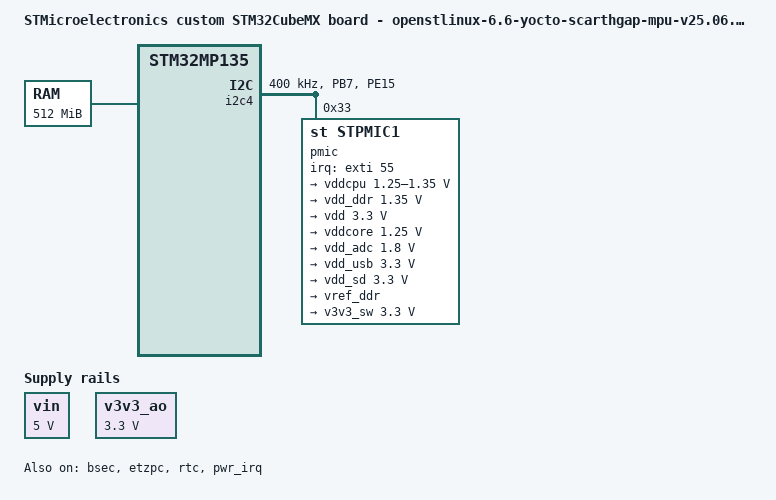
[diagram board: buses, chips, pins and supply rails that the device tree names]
// SPDX-License-Identifier: (GPL-2.0-or-later OR BSD-3-Clause)
/*
 * Copyright (C) 2026, STMicroelectronics - All Rights Reserved
 * Author: STM32CubeMX code generation for STMicroelectronics.
 */

/* For more information on Device Tree configuration, please refer to
 * https://wiki.st.com/stm32mpu/wiki/Category:Device_tree_configuration
 */

/dts-v1/;

#include <dt-bindings/pinctrl/stm32-pinfunc.h>
#include <dt-bindings/clock/stm32mp13-clksrc.h>
#include <dt-bindings/soc/stm32mp13-etzpc.h>
#include "stm32mp135.dtsi"
#include "stm32mp13xd.dtsi"

/* USER CODE BEGIN includes */
#include <dt-bindings/gpio/stm32mp_gpio.h>	/* TZPROT() used by &gpiob/&gpioe */
#include <dt-bindings/interrupt-controller/irq.h>
#include <dt-bindings/mfd/st,stpmic1.h>
#include <dt-bindings/regulator/st,stm32mp13-regulator.h>
/* USER CODE END includes */

/ {
	model = "STMicroelectronics custom STM32CubeMX board - openstlinux-6.6-yocto-scarthgap-mpu-v25.06.11";
	compatible = "st,stm32mp135d-oddesey-mx", "st,stm32mp135";

	memory@c0000000 {
		device_type = "memory";
		reg = <0xc0000000 0x20000000>;

		/* USER CODE BEGIN memory */
		/* USER CODE END memory */
	};

	reserved-memory {
		#address-cells = <1>;
		#size-cells = <1>;
		ranges;

		/* USER CODE BEGIN reserved-memory */
		/* USER CODE END reserved-memory */
	};

	/* USER CODE BEGIN root */
	aliases {
		serial0 = &uart4;
	};

	chosen {
		stdout-path = "serial0:115200n8";
	};

	/* 5V_IN from USB-C (input of all PMIC bucks/LDOs) */
	vin: regulator-vin {
		compatible = "regulator-fixed";
		regulator-name = "vin";
		regulator-min-microvolt = <5000000>;
		regulator-max-microvolt = <5000000>;
		regulator-always-on;
	};

	/* SYS_3V3 from the MP2161 DC/DC (always on; feeds PMIC SWIN) */
	v3v3_ao: regulator-v3v3-ao {
		compatible = "regulator-fixed";
		regulator-name = "v3v3_ao";
		regulator-min-microvolt = <3300000>;
		regulator-max-microvolt = <3300000>;
		regulator-always-on;
	};
	/* USER CODE END root */

	clocks {
		/* USER CODE BEGIN clocks */
		/* USER CODE END clocks */

		clk_hsi: clk-hsi {
			clock-frequency = <64000000>;

			/* USER CODE BEGIN clk_hsi */
			/* USER CODE END clk_hsi */
		};
		clk_lse: clk-lse {
			clock-frequency = <32768>;
			st,drive = < LSEDRV_MEDIUM_HIGH >;

			/* USER CODE BEGIN clk_lse */
			/* USER CODE END clk_lse */
		};
		clk_hse: clk-hse {
			clock-frequency = <24000000>;

			/* USER CODE BEGIN clk_hse */
			/* USER CODE END clk_hse */
		};
		clk_i2sin: clk-i2sin {
			status = "disabled";

			/* USER CODE BEGIN clk_i2sin */
			/* USER CODE END clk_i2sin */
		};
	};

}; /*root*/

/*Warning: the configuration of the secured GPIOs should be added in (addons) User Section*/
&pinctrl {
	i2c4_pins_mx: i2c4_mx-0 {
		pins {
			pinmux = <STM32_PINMUX('B', 7, AF6)>, /* I2C4_SDA */
					 <STM32_PINMUX('E', 15, AF6)>; /* I2C4_SCL */
			bias-disable;
			drive-open-drain;
			slew-rate = <0>;
		};
	};

	/* USER CODE BEGIN pinctrl */
	/* USER CODE END pinctrl */
};

&gpiob {
	st,protreg = < (TZPROT(7)) >;
};

&gpioe {
	st,protreg = < (TZPROT(15)) >;
};

&bsec {
	status = "okay";

	/* USER CODE BEGIN bsec */
	/* USER CODE END bsec */
};

&etzpc {
	status = "okay";
	st,decprot = <
	/*"NS_R S_W" peripherals*/
	DECPROT(STM32MP1_ETZPC_DDRCTRLPHY_ID, DECPROT_NS_R_S_W, DECPROT_LOCK)
	/*"Non Secured" peripherals*/
	DECPROT(STM32MP1_ETZPC_ETH1_ID, DECPROT_NS_RW, DECPROT_UNLOCK)
	DECPROT(STM32MP1_ETZPC_ETH2_ID, DECPROT_NS_RW, DECPROT_UNLOCK)
	DECPROT(STM32MP1_ETZPC_SDMMC1_ID, DECPROT_NS_RW, DECPROT_UNLOCK)
	DECPROT(STM32MP1_ETZPC_OTG_ID, DECPROT_NS_RW, DECPROT_UNLOCK)
	DECPROT(STM32MP1_ETZPC_USBPHYCTRL_ID, DECPROT_NS_RW, DECPROT_UNLOCK)
	/*"Secured" peripherals*/
	DECPROT(STM32MP1_ETZPC_I2C4_ID, DECPROT_S_RW, DECPROT_UNLOCK)
	DECPROT(STM32MP1_ETZPC_STGENC_ID, DECPROT_S_RW, DECPROT_UNLOCK)

	/*Restriction: following IDs are not managed  - please to use User-Section if needed:
		  STM32MP1_ETZPC_SRAMx_ID  STM32MP1_ETZPC_BKPSRAM_ID*/

	/* USER CODE BEGIN etzpc_decprot */
		/*STM32CubeMX generates a basic and standard configuration for ETZPC.
		Additional device configurations can be added here if needed.
		"etzpc" node could be also overloaded in "addons" User-Section.*/
	/* USER CODE END etzpc_decprot */
	>;

	/* USER CODE BEGIN etzpc */
	/* USER CODE END etzpc */
};

&i2c4 {
	pinctrl-names = "default";
	pinctrl-0 = <&i2c4_pins_mx>;
	status = "okay";

	/* USER CODE BEGIN i2c4 */
	i2c-scl-rising-time-ns = <185>;
	i2c-scl-falling-time-ns = <20>;
	clock-frequency = <400000>;

	pmic: stpmic@33 {
		compatible = "st,stpmic1";
		reg = <0x33>;
		status = "okay";
		/* PMIC INTn -> PF8 (WKUP1) = EXTI 55, same as the DK */
		interrupts-extended = <&exti 55 IRQ_TYPE_EDGE_FALLING>;
		wakeup-source;
		st,pmic-it-id = <IT_PONKEY_F IT_PONKEY_R>;
		st,notif-it-id = <0 2>;

		regulators {
			compatible = "st,stpmic1-regulators";
			buck1-supply = <&vin>;
			buck2-supply = <&vin>;
			buck3-supply = <&vin>;
			buck4-supply = <&vin>;
			ldo1-supply = <&vin>;
			ldo4-supply = <&vin>;
			ldo5-supply = <&vin>;
			vref_ddr-supply = <&vin>;
			pwr_sw2-supply = <&v3v3_ao>;

			/* BUCK1 -> VDD_CPU. 1.25V for 650MHz. */
			vddcpu: buck1 {
				regulator-name = "vddcpu";
				regulator-min-microvolt = <1250000>;
				regulator-max-microvolt = <1350000>;
				regulator-always-on;
				regulator-over-current-protection;
			};

			/* BUCK2 -> VDD_DDR. DDR3L (D2516EC4BXGGB) needs 1.35V (schematic label "1.1V" is wrong for DDR3L). */
			vdd_ddr: buck2 {
				regulator-name = "vdd_ddr";
				regulator-min-microvolt = <1350000>;
				regulator-max-microvolt = <1350000>;
				regulator-always-on;
				regulator-over-current-protection;
			};

			/* BUCK3 -> VDD_3V3 (MPU VDD, VDDSD1/2, PLL, VBAT) */
			vdd: buck3 {
				regulator-name = "vdd";
				regulator-min-microvolt = <3300000>;
				regulator-max-microvolt = <3300000>;
				regulator-always-on;
				st,mask-reset;
				regulator-over-current-protection;
			};

			/* BUCK4 -> VDD_CORE */
			vddcore: buck4 {
				regulator-name = "vddcore";
				regulator-min-microvolt = <1250000>;
				regulator-max-microvolt = <1250000>;
				regulator-always-on;
				regulator-over-current-protection;
			};

			/* LDO1 -> VDD_ADC_1V8 (VDDA / VREF+). 1.8V on this board, NOT 3.3V as on the DK. */
			vdd_adc: ldo1 {
				regulator-name = "vdd_adc";
				regulator-min-microvolt = <1800000>;
				regulator-max-microvolt = <1800000>;
			};

			/* LDO4 -> VDD_USB_3V3 (VDD3V3_USB) */
			vdd_usb: ldo4 {
				regulator-name = "vdd_usb";
				regulator-min-microvolt = <3300000>;
				regulator-max-microvolt = <3300000>;
			};

			/* LDO5 -> VDD_SD_3V3 (microSD slot) */
			vdd_sd: ldo5 {
				regulator-name = "vdd_sd";
				regulator-min-microvolt = <3300000>;
				regulator-max-microvolt = <3300000>;
				st,regulator-warm-boot-on;
			};

			/* REFDDR -> VREF_DDR 0.675V */
			vref_ddr: vref_ddr {
				regulator-name = "vref_ddr";
				regulator-always-on;
			};

			/* PWR_SW2 (SWOUT) -> 3V3_SW = ETH2 PHY supply (VDD_ETH2) */
			v3v3_sw: pwr_sw2 {
				regulator-name = "v3v3_sw";
				regulator-active-discharge = <1>;
				regulator-min-microvolt = <3300000>;
				regulator-max-microvolt = <3300000>;
			};
		};
	};
	/* USER CODE END i2c4 */
};

&rcc {
	status = "okay";
	clocks = <&clk_hse>, <&clk_hsi>, <&clk_lse>, <&clk_lsi>, <&clk_csi>;
	clock-names = "clk-hse", "clk-hsi", "clk-lse", "clk-lsi", "clk-csi";
	st,clksrc = <
		CLK_MPU_PLL1P
		CLK_AXI_PLL2P
		CLK_MLAHBS_HSI
		CLK_RTC_LSE
		CLK_MCO1_DISABLED
		CLK_MCO2_DISABLED
		CLK_CKPER_DISABLED
		CLK_ETH1_PLL4P
		CLK_ETH2_PLL4P
		CLK_SDMMC1_HSI
		CLK_STGEN_HSI
		CLK_USBPHY_HSE
		CLK_I2C4_PCLK6
		CLK_USBO_PLL4R
		CLK_UART4_PCLK1
	>;
	st,clkdiv = <
		DIV(DIV_MPU, 1)
		DIV(DIV_AXI, 0)
		DIV(DIV_MLAHB, 0)
		DIV(DIV_APB1, 0)
		DIV(DIV_APB2, 0)
		DIV(DIV_APB3, 0)
		DIV(DIV_APB4, 1)
		DIV(DIV_APB5, 2)
		DIV(DIV_APB6, 0)
		DIV(DIV_RTC, 0)
		DIV(DIV_MCO1, 0)
		DIV(DIV_MCO2, 0)
	>;
	st,pll_vco {
		pll1_vco_1300Mhz: pll1-vco-1300Mhz {
			src = < CLK_PLL12_HSE >;
			divmn = < 2 80 >;
			frac = < 0x800 >;
		};
		pll2_vco_1066Mhz: pll2-vco-1066Mhz {
			src = < CLK_PLL12_HSE >;
			divmn = < 2 65 >;
			frac = < 0x1400 >;
		};
		pll4_vco_600Mhz: pll4-vco-600Mhz {
			src = < CLK_PLL4_HSE >;
			divmn = < 1 49 >;
		};
		/* USER CODE BEGIN rcc_st-pll_vco */
		/* USER CODE END rcc_st-pll_vco */
	};

	pll1:st,pll@0 {
		compatible = "st,stm32mp1-pll";
		reg = <0>;

		st,pll = < &pll1_cfg1 >;

		pll1_cfg1: pll1_cfg1 {
			st,pll_vco = < &pll1_vco_1300Mhz >;
			st,pll_div_pqr = < 0 1 1 >;
		};
		/* USER CODE BEGIN pll1 */
		/* USER CODE END pll1 */
	};

	pll2:st,pll@1 {
		compatible = "st,stm32mp1-pll";
		reg = <1>;

		st,pll = < &pll2_cfg1 >;

		pll2_cfg1: pll2_cfg1 {
			st,pll_vco = < &pll2_vco_1066Mhz >;
			st,pll_div_pqr = < 1 1 0 >;
		};
		/* USER CODE BEGIN pll2 */
		/* USER CODE END pll2 */
	};

	pll4:st,pll@3 {
		compatible = "st,stm32mp1-pll";
		reg = <3>;

		st,pll = < &pll4_cfg1 >;

		pll4_cfg1: pll4_cfg1 {
			st,pll_vco = < &pll4_vco_600Mhz >;
			st,pll_div_pqr = < 11 11 11 >;
		};
		/* USER CODE BEGIN pll4 */
		/* USER CODE END pll4 */
	};

	st,clk_opp {
		/* CK_MPU clock config for MP13 */
		st,ck_mpu {

			cfg_1 {
				hz = < 650000000 >;
				st,clksrc = < CLK_MPU_PLL1P >;
				st,pll = < &pll1_cfg1 >;
			};
			/* USER CODE BEGIN rcc_st-ck_mpu */
			/* USER CODE END rcc_st-ck_mpu */
		};

		/* CK_AXI clock config for MP13 */
		st,ck_axi {

			cfg_1 {
				hz = < 266500000 >;
				st,clksrc = < CLK_AXI_PLL2P >;
				st,clkdiv = < DIV(DIV_AXI, 0) >;
				st,pll = < &pll2_cfg1 >;
			};
			/* USER CODE BEGIN rcc_st-ck_axi */
			/* USER CODE END rcc_st-ck_axi */
		};

		/* CK_MLAHBS clock config for MP13 */
		st,ck_mlahbs {

			cfg_1 {
				hz = < 64000000 >;
				st,clksrc = < CLK_MLAHBS_HSI >;
				st,clkdiv = < DIV(DIV_MLAHB, 0) >;
			};

			/* USER CODE BEGIN rcc_st-ck_mlahbs */
			/* USER CODE END rcc_st-ck_mlahbs */
		};
	};

	/* USER CODE BEGIN rcc */
	/* USER CODE END rcc */
};

&rtc {
	status = "okay";

	/* USER CODE BEGIN rtc */
	/* USER CODE END rtc */
};

/* USER CODE BEGIN addons */
&cpu0 {
	cpu-supply = <&vddcpu>;
};

/* PMIC INTn -> PF8 = PWR wakeup pin 1. EXTI line 55 is routed through pwr_irq,
 * which is disabled in the SoC dtsi: without this node the PMIC driver defers forever */
&pwr_irq {
	status = "okay";
	wakeup-gpios = <&gpiof 8 GPIO_ACTIVE_HIGH>, <0>, <0>, <0>, <0>, <0>;
};

/* PF8 is used by the secure world (PMIC interrupt) */
&gpiof {
	st,protreg = < (TZPROT(8)) >;
};

&pwr_regulators {
	vdd-supply = <&vdd>;
	vdd_3v3_usbfs-supply = <&vdd_usb>;
};

/* VDDSD1 pin is on VDD_3V3 */
&sdmmc1_io {
	vddsd1-supply = <&vdd>;
};

&sdmmc2_io {
	vddsd2-supply = <&vdd>;
};

/* Export PMIC rails to Linux over SCMI */
&scmi_regu {
	voltd-vddcpu {
		reg = <VOLTD_SCMI_STPMIC1_BUCK1>;
		voltd-supply = <&vddcpu>;
	};
	voltd-vdd {
		reg = <VOLTD_SCMI_STPMIC1_BUCK3>;
		voltd-supply = <&vdd>;
	};
	voltd-vddcore {
		reg = <VOLTD_SCMI_STPMIC1_BUCK4>;
		voltd-supply = <&vddcore>;
	};
	voltd-vdd-adc {
		reg = <VOLTD_SCMI_STPMIC1_LDO1>;
		voltd-supply = <&vdd_adc>;
	};
	voltd-vdd-usb {
		reg = <VOLTD_SCMI_STPMIC1_LDO4>;
		voltd-supply = <&vdd_usb>;
	};
	voltd-vdd-sd {
		reg = <VOLTD_SCMI_STPMIC1_LDO5>;
		voltd-supply = <&vdd_sd>;
	};
	voltd-v3v3-sw {
		reg = <VOLTD_SCMI_STPMIC1_PWR_SW2>;
		voltd-supply = <&v3v3_sw>;
	};
};
/* USER CODE END addons */

